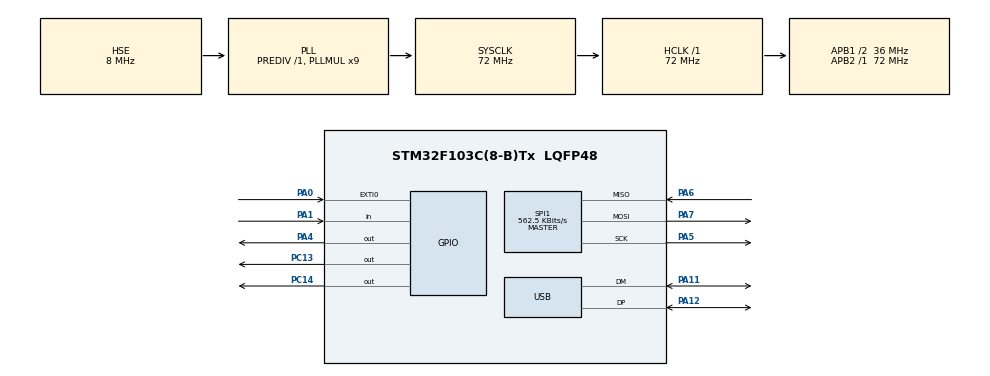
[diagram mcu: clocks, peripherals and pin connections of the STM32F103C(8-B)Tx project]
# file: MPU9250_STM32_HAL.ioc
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Mcu.Family=STM32F1
Mcu.Name=STM32F103C(8-B)Tx
Mcu.Package=LQFP48
NVIC.EXTI0_IRQn=true\:0\:0\:false\:false\:true\:true
NVIC.PriorityGroup=NVIC_PRIORITYGROUP_4
NVIC.USB_LP_CAN1_RX0_IRQn=true\:0\:0\:false\:false\:true\:false
PA0-WKUP.Signal=GPXTI0
PA1.Signal=GPIO_Input
PA11.Mode=Device
PA11.Signal=USB_DM
PA12.Mode=Device
PA12.Signal=USB_DP
PA13.Mode=Serial_Wire
PA13.Signal=SYS_JTMS-SWDIO
PA14.Mode=Serial_Wire
PA14.Signal=SYS_JTCK-SWCLK
PA4.Signal=GPIO_Output
PA5.Mode=Full_Duplex_Master
PA5.Signal=SPI1_SCK
PA6.Mode=Full_Duplex_Master
PA6.Signal=SPI1_MISO
PA7.Mode=Full_Duplex_Master
PA7.Signal=SPI1_MOSI
PC13-TAMPER-RTC.Signal=GPIO_Output
PC14-OSC32_IN.Signal=GPIO_Output
PD0-OSC_IN.Mode=HSE-External-Oscillator
PD0-OSC_IN.Signal=RCC_OSC_IN
PD1-OSC_OUT.Mode=HSE-External-Oscillator
PD1-OSC_OUT.Signal=RCC_OSC_OUT
ProjectManager.HeapSize=0x200
ProjectManager.StackSize=0x400
ProjectManager.TargetToolchain=MDK-ARM V5
RCC.AHBFreq_Value=72000000
RCC.APB1CLKDivider=RCC_HCLK_DIV2
RCC.APB1Freq_Value=36000000
RCC.APB1TimFreq_Value=72000000
RCC.APB2Freq_Value=72000000
RCC.APB2TimFreq_Value=72000000
RCC.HCLKFreq_Value=72000000
RCC.PLLMUL=RCC_PLL_MUL9
RCC.PLLSourceVirtual=RCC_PLLSOURCE_HSE
RCC.SYSCLKFreq_VALUE=72000000
RCC.SYSCLKSource=RCC_SYSCLKSOURCE_PLLCLK
RCC.USBFreq_Value=48000000
RCC.USBPrescaler=RCC_USBCLKSOURCE_PLL_DIV1_5
SPI1.BaudRatePrescaler=SPI_BAUDRATEPRESCALER_128
SPI1.CalculateBaudRate=562.5 KBits/s
SPI1.Direction=SPI_DIRECTION_2LINES
SPI1.Mode=SPI_MODE_MASTER
SPI1.VirtualType=VM_MASTER
USB_DEVICE.CLASS_NAME_FS=CDC
USB_DEVICE.VirtualMode=Cdc
USB_DEVICE.VirtualModeFS=Cdc_FS
VP_USB_DEVICE_VS_USB_DEVICE_CDC_FS.Mode=CDC_FS
board=MPU9250_STM32_HAL

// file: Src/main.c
/**
  ******************************************************************************
  * @file           : main.c
  * @brief          : Main program body
  ******************************************************************************
  * This notice applies to any and all portions of this file
  * that are not between comment pairs USER CODE BEGIN and
  * USER CODE END. Other portions of this file, whether
  * inserted by the user or by software development tools
  * are owned by their respective copyright owners.
  *
  * Copyright (c) 2018 STMicroelectronics International N.V.
  * All rights reserved.
  *
  * Redistribution and use in source and binary forms, with or without
  * modification, are permitted, provided that the following conditions are met:
  *
  * 1. Redistribution of source code must retain the above copyright notice,
  *    this list of conditions and the following disclaimer.
  * 2. Redistributions in binary form must reproduce the above copyright notice,
  *    this list of conditions and the following disclaimer in the documentation
  *    and/or other materials provided with the distribution.
  * 3. Neither the name of STMicroelectronics nor the names of other
  *    contributors to this software may be used to endorse or promote products
  *    derived from this software without specific written permission.
  * 4. This software, including modifications and/or derivative works of this
  *    software, must execute solely and exclusively on microcontroller or
  *    microprocessor devices manufactured by or for STMicroelectronics.
  * 5. Redistribution and use of this software other than as permitted under
  *    this license is void and will automatically terminate your rights under
  *    this license.
  *
  * THIS SOFTWARE IS PROVIDED BY STMICROELECTRONICS AND CONTRIBUTORS "AS IS"
  * AND ANY EXPRESS, IMPLIED OR STATUTORY WARRANTIES, INCLUDING, BUT NOT
  * LIMITED TO, THE IMPLIED WARRANTIES OF MERCHANTABILITY, FITNESS FOR A
  * PARTICULAR PURPOSE AND NON-INFRINGEMENT OF THIRD PARTY INTELLECTUAL PROPERTY
  * RIGHTS ARE DISCLAIMED TO THE FULLEST EXTENT PERMITTED BY LAW. IN NO EVENT
  * SHALL STMICROELECTRONICS OR CONTRIBUTORS BE LIABLE FOR ANY DIRECT, INDIRECT,
  * INCIDENTAL, SPECIAL, EXEMPLARY, OR CONSEQUENTIAL DAMAGES (INCLUDING, BUT NOT
  * LIMITED TO, PROCUREMENT OF SUBSTITUTE GOODS OR SERVICES; LOSS OF USE, DATA,
  * OR PROFITS; OR BUSINESS INTERRUPTION) HOWEVER CAUSED AND ON ANY THEORY OF
  * LIABILITY, WHETHER IN CONTRACT, STRICT LIABILITY, OR TORT (INCLUDING
  * NEGLIGENCE OR OTHERWISE) ARISING IN ANY WAY OUT OF THE USE OF THIS SOFTWARE,
  * EVEN IF ADVISED OF THE POSSIBILITY OF SUCH DAMAGE.
  *
  ******************************************************************************
  */
#include "main.h"
#include "stm32f1xx_hal.h"
#include "usb_device.h"

/* USER CODE BEGIN Includes */
#include "MPU9250_SPI.h"
#include "usbd_cdc_if.h"

/* USER CODE END Includes */

SPI_HandleTypeDef hspi1;

/* USER CODE BEGIN PV */
/* Private variables ---------------------------------------------------------*/
volatile uint16_t newDataFlag=0;
volatile uint16_t cdcPortOpenedFlag=0;
/* USER CODE END PV */

void SystemClock_Config(void);
static void MX_GPIO_Init(void);
static void MX_SPI1_Init(void);

/* USER CODE BEGIN PFP */
/* Private function prototypes -----------------------------------------------*/

/* USER CODE END PFP */

int main(void)
{
  /* USER CODE BEGIN 1 */
	char outdata[100];
	struct mpuSensorData sensorData;
	struct DPL{
		int16_t h1;
		int16_t h2;
		struct mpuSensorData Data;
	};
	union{
		struct DPL Data;
		uint8_t buffer[24];
	  }Packet;
  /* USER CODE END 1 */

  /* MCU Configuration----------------------------------------------------------*/

  /* Reset of all peripherals, Initializes the Flash interface and the Systick. */
  HAL_Init();

  /* Configure the system clock */
  SystemClock_Config();

  /* Initialize all configured peripherals */
  MX_GPIO_Init();
  MX_SPI1_Init();
  MX_USB_DEVICE_Init();
  /* USER CODE BEGIN 2 */
	NSS_HIGH;
	uint8_t data=00;
	HAL_SPI_Transmit(&hspi1,&data,1,100); //init the spi interface pin states
	HAL_Delay(10);
	mpuBegin();
	//mpuMyCustomConfig();
  enableDataReadyInterrupt();
  /* USER CODE END 2 */

  /* Infinite loop */
  while (1)
  {

  /* USER CODE BEGIN 3 */
		if(newDataFlag){
		mpuReadSensor(&sensorData);
		//Packet.Data.Data=sensorData;
		//sprintf(outdata,"%d,%d,%d,%d,%d,%d,%d,%d,%d\n",sensorData.ax,sensorData.ay,sensorData.az,sensorData.gx,sensorData.gy,sensorData.gz,sensorData.hx,sensorData.hy,sensorData.hz);
		sprintf(outdata,"%d\n",sensorData.ax);
		CDC_Transmit_FS((uint8_t *)outdata,sizeof(outdata));
		//CDC_Transmit_FS(Packet.buffer,sizeof(Packet.buffer));
			newDataFlag=0;
		}

  }
  /* USER CODE END 3 */

}

void SystemClock_Config(void)
{

  RCC_OscInitTypeDef RCC_OscInitStruct;
  RCC_ClkInitTypeDef RCC_ClkInitStruct;
  RCC_PeriphCLKInitTypeDef PeriphClkInit;

    /**Initializes the CPU, AHB and APB busses clocks
    */
  RCC_OscInitStruct.OscillatorType = RCC_OSCILLATORTYPE_HSE;
  RCC_OscInitStruct.HSEState = RCC_HSE_ON;
  RCC_OscInitStruct.HSEPredivValue = RCC_HSE_PREDIV_DIV1;
  RCC_OscInitStruct.HSIState = RCC_HSI_ON;
  RCC_OscInitStruct.PLL.PLLState = RCC_PLL_ON;
  RCC_OscInitStruct.PLL.PLLSource = RCC_PLLSOURCE_HSE;
  RCC_OscInitStruct.PLL.PLLMUL = RCC_PLL_MUL9;
  if (HAL_RCC_OscConfig(&RCC_OscInitStruct) != HAL_OK)
  {
    _Error_Handler(__FILE__, __LINE__);
  }

    /**Initializes the CPU, AHB and APB busses clocks
    */
  RCC_ClkInitStruct.ClockType = RCC_CLOCKTYPE_HCLK|RCC_CLOCKTYPE_SYSCLK
                              |RCC_CLOCKTYPE_PCLK1|RCC_CLOCKTYPE_PCLK2;
  RCC_ClkInitStruct.SYSCLKSource = RCC_SYSCLKSOURCE_PLLCLK;
  RCC_ClkInitStruct.AHBCLKDivider = RCC_SYSCLK_DIV1;
  RCC_ClkInitStruct.APB1CLKDivider = RCC_HCLK_DIV2;
  RCC_ClkInitStruct.APB2CLKDivider = RCC_HCLK_DIV1;

  if (HAL_RCC_ClockConfig(&RCC_ClkInitStruct, FLASH_LATENCY_2) != HAL_OK)
  {
    _Error_Handler(__FILE__, __LINE__);
  }

  PeriphClkInit.PeriphClockSelection = RCC_PERIPHCLK_USB;
  PeriphClkInit.UsbClockSelection = RCC_USBCLKSOURCE_PLL_DIV1_5;
  if (HAL_RCCEx_PeriphCLKConfig(&PeriphClkInit) != HAL_OK)
  {
    _Error_Handler(__FILE__, __LINE__);
  }

    /**Configure the Systick interrupt time
    */
  HAL_SYSTICK_Config(HAL_RCC_GetHCLKFreq()/1000);

    /**Configure the Systick
    */
  HAL_SYSTICK_CLKSourceConfig(SYSTICK_CLKSOURCE_HCLK);

  /* SysTick_IRQn interrupt configuration */
  HAL_NVIC_SetPriority(SysTick_IRQn, 0, 0);
}

/* SPI1 init function */
static void MX_SPI1_Init(void)
{

  /* SPI1 parameter configuration*/
  hspi1.Instance = SPI1;
  hspi1.Init.Mode = SPI_MODE_MASTER;
  hspi1.Init.Direction = SPI_DIRECTION_2LINES;
  hspi1.Init.DataSize = SPI_DATASIZE_8BIT;
  hspi1.Init.CLKPolarity = SPI_POLARITY_LOW;
  hspi1.Init.CLKPhase = SPI_PHASE_1EDGE;
  hspi1.Init.NSS = SPI_NSS_SOFT;
  hspi1.Init.BaudRatePrescaler = SPI_BAUDRATEPRESCALER_128;
  hspi1.Init.FirstBit = SPI_FIRSTBIT_MSB;
  hspi1.Init.TIMode = SPI_TIMODE_DISABLE;
  hspi1.Init.CRCCalculation = SPI_CRCCALCULATION_DISABLE;
  hspi1.Init.CRCPolynomial = 10;
  if (HAL_SPI_Init(&hspi1) != HAL_OK)
  {
    _Error_Handler(__FILE__, __LINE__);
  }

}

/** Configure pins as
        * Analog
        * Input
        * Output
        * EVENT_OUT
        * EXTI
*/
static void MX_GPIO_Init(void)
{

  GPIO_InitTypeDef GPIO_InitStruct;

  /* GPIO Ports Clock Enable */
  __HAL_RCC_GPIOC_CLK_ENABLE();
  __HAL_RCC_GPIOD_CLK_ENABLE();
  __HAL_RCC_GPIOA_CLK_ENABLE();

  /*Configure GPIO pin Output Level */
  HAL_GPIO_WritePin(GPIOC, GPIO_PIN_13|GPIO_PIN_14, GPIO_PIN_RESET);

  /*Configure GPIO pin Output Level */
  HAL_GPIO_WritePin(GPIOA, GPIO_PIN_4, GPIO_PIN_RESET);

  /*Configure GPIO pins : PC13 PC14 */
  GPIO_InitStruct.Pin = GPIO_PIN_13|GPIO_PIN_14;
  GPIO_InitStruct.Mode = GPIO_MODE_OUTPUT_PP;
  GPIO_InitStruct.Speed = GPIO_SPEED_FREQ_LOW;
  HAL_GPIO_Init(GPIOC, &GPIO_InitStruct);

  /*Configure GPIO pin : PA0 */
  GPIO_InitStruct.Pin = GPIO_PIN_0;
  GPIO_InitStruct.Mode = GPIO_MODE_IT_RISING;
  GPIO_InitStruct.Pull = GPIO_NOPULL;
  HAL_GPIO_Init(GPIOA, &GPIO_InitStruct);

  /*Configure GPIO pin : PA1 */
  GPIO_InitStruct.Pin = GPIO_PIN_1;
  GPIO_InitStruct.Mode = GPIO_MODE_INPUT;
  GPIO_InitStruct.Pull = GPIO_NOPULL;
  HAL_GPIO_Init(GPIOA, &GPIO_InitStruct);

  /*Configure GPIO pin : PA4 */
  GPIO_InitStruct.Pin = GPIO_PIN_4;
  GPIO_InitStruct.Mode = GPIO_MODE_OUTPUT_PP;
  GPIO_InitStruct.Speed = GPIO_SPEED_FREQ_LOW;
  HAL_GPIO_Init(GPIOA, &GPIO_InitStruct);

  /* EXTI interrupt init*/
  HAL_NVIC_SetPriority(EXTI0_IRQn, 0, 0);
  HAL_NVIC_EnableIRQ(EXTI0_IRQn);

}

void _Error_Handler(char *file, int line)
{
  while(1)
  {
  }
}

/************************ (C) COPYRIGHT STMicroelectronics *****END OF FILE****/
